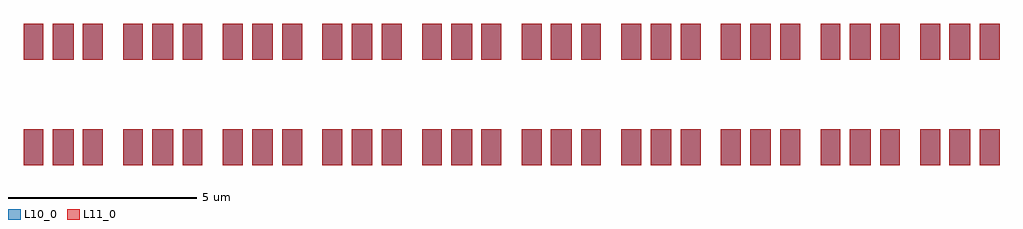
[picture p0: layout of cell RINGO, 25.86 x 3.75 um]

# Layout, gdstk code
import gdstk
lib = gdstk.Library(unit=1e-6, precision=1e-09)
def R(c, l, rs):  # rectangles x0, y0, x1, y1
    for r in rs: c.add(gdstk.rectangle(r[:2], r[2:], *l))
def A(c, l, x, y, w, h, nx, ny, dx, dy):  # array of equal rectangles
    R(c, l, [(x+i*dx, y+j*dy, x+i*dx+w, y+j*dy+h) for i in range(nx) for j in range(ny)])
L10_0 = (10, 0)
L11_0 = (11, 0)

ringo = lib.new_cell('RINGO')
A(ringo, L10_0, -0.275, -0.475, 0.55, 0.95, 10, 2, 2.64, 2.8)
R(ringo, L10_0, [(-1.05,-0.475,-0.525,0.475), (0.525,-0.475,1.05,0.475), (1.59,-0.475,2.115,0.475), (3.165,-0.475,3.69,0.475), (4.23,-0.475,4.755,0.475), (5.805,-0.475,6.33,0.475), (6.87,-0.475,7.395,0.475), (8.445,-0.475,8.97,0.475), (9.51,-0.475,10.035,0.475), (11.085,-0.475,11.61,0.475), (12.15,-0.475,12.675,0.475), (13.725,-0.475,14.25,0.475), (14.79,-0.475,15.315,0.475), (16.365,-0.475,16.89,0.475), (17.43,-0.475,17.955,0.475), (19.005,-0.475,19.53,0.475), (20.07,-0.475,20.595,0.475), (21.645,-0.475,22.17,0.475), (22.71,-0.475,23.235,0.475), (24.285,-0.475,24.81,0.475), (-1.05,2.325,-0.525,3.275), (0.525,2.325,1.05,3.275), (1.59,2.325,2.115,3.275), (3.165,2.325,3.69,3.275), (4.23,2.325,4.755,3.275), (5.805,2.325,6.33,3.275), (6.87,2.325,7.395,3.275), (8.445,2.325,8.97,3.275), (9.51,2.325,10.035,3.275), (11.085,2.325,11.61,3.275), (12.15,2.325,12.675,3.275), (13.725,2.325,14.25,3.275), (14.79,2.325,15.315,3.275), (16.365,2.325,16.89,3.275), (17.43,2.325,17.955,3.275), (19.005,2.325,19.53,3.275), (20.07,2.325,20.595,3.275), (21.645,2.325,22.17,3.275), (22.71,2.325,23.235,3.275), (24.285,2.325,24.81,3.275)])
A(ringo, L11_0, -0.275, -0.475, 0.55, 0.95, 10, 2, 2.64, 2.8)
R(ringo, L11_0, [(-1.05,-0.475,-0.525,0.475), (0.525,-0.475,1.05,0.475), (1.59,-0.475,2.115,0.475), (3.165,-0.475,3.69,0.475), (4.23,-0.475,4.755,0.475), (5.805,-0.475,6.33,0.475), (6.87,-0.475,7.395,0.475), (8.445,-0.475,8.97,0.475), (9.51,-0.475,10.035,0.475), (11.085,-0.475,11.61,0.475), (12.15,-0.475,12.675,0.475), (13.725,-0.475,14.25,0.475), (14.79,-0.475,15.315,0.475), (16.365,-0.475,16.89,0.475), (17.43,-0.475,17.955,0.475), (19.005,-0.475,19.53,0.475), (20.07,-0.475,20.595,0.475), (21.645,-0.475,22.17,0.475), (22.71,-0.475,23.235,0.475), (24.285,-0.475,24.81,0.475), (-1.05,2.325,-0.525,3.275), (0.525,2.325,1.05,3.275), (1.59,2.325,2.115,3.275), (3.165,2.325,3.69,3.275), (4.23,2.325,4.755,3.275), (5.805,2.325,6.33,3.275), (6.87,2.325,7.395,3.275), (8.445,2.325,8.97,3.275), (9.51,2.325,10.035,3.275), (11.085,2.325,11.61,3.275), (12.15,2.325,12.675,3.275), (13.725,2.325,14.25,3.275), (14.79,2.325,15.315,3.275), (16.365,2.325,16.89,3.275), (17.43,2.325,17.955,3.275), (19.005,2.325,19.53,3.275), (20.07,2.325,20.595,3.275), (21.645,2.325,22.17,3.275), (22.71,2.325,23.235,3.275), (24.285,2.325,24.81,3.275)])

lib.write_gds('RINGO.gds')
